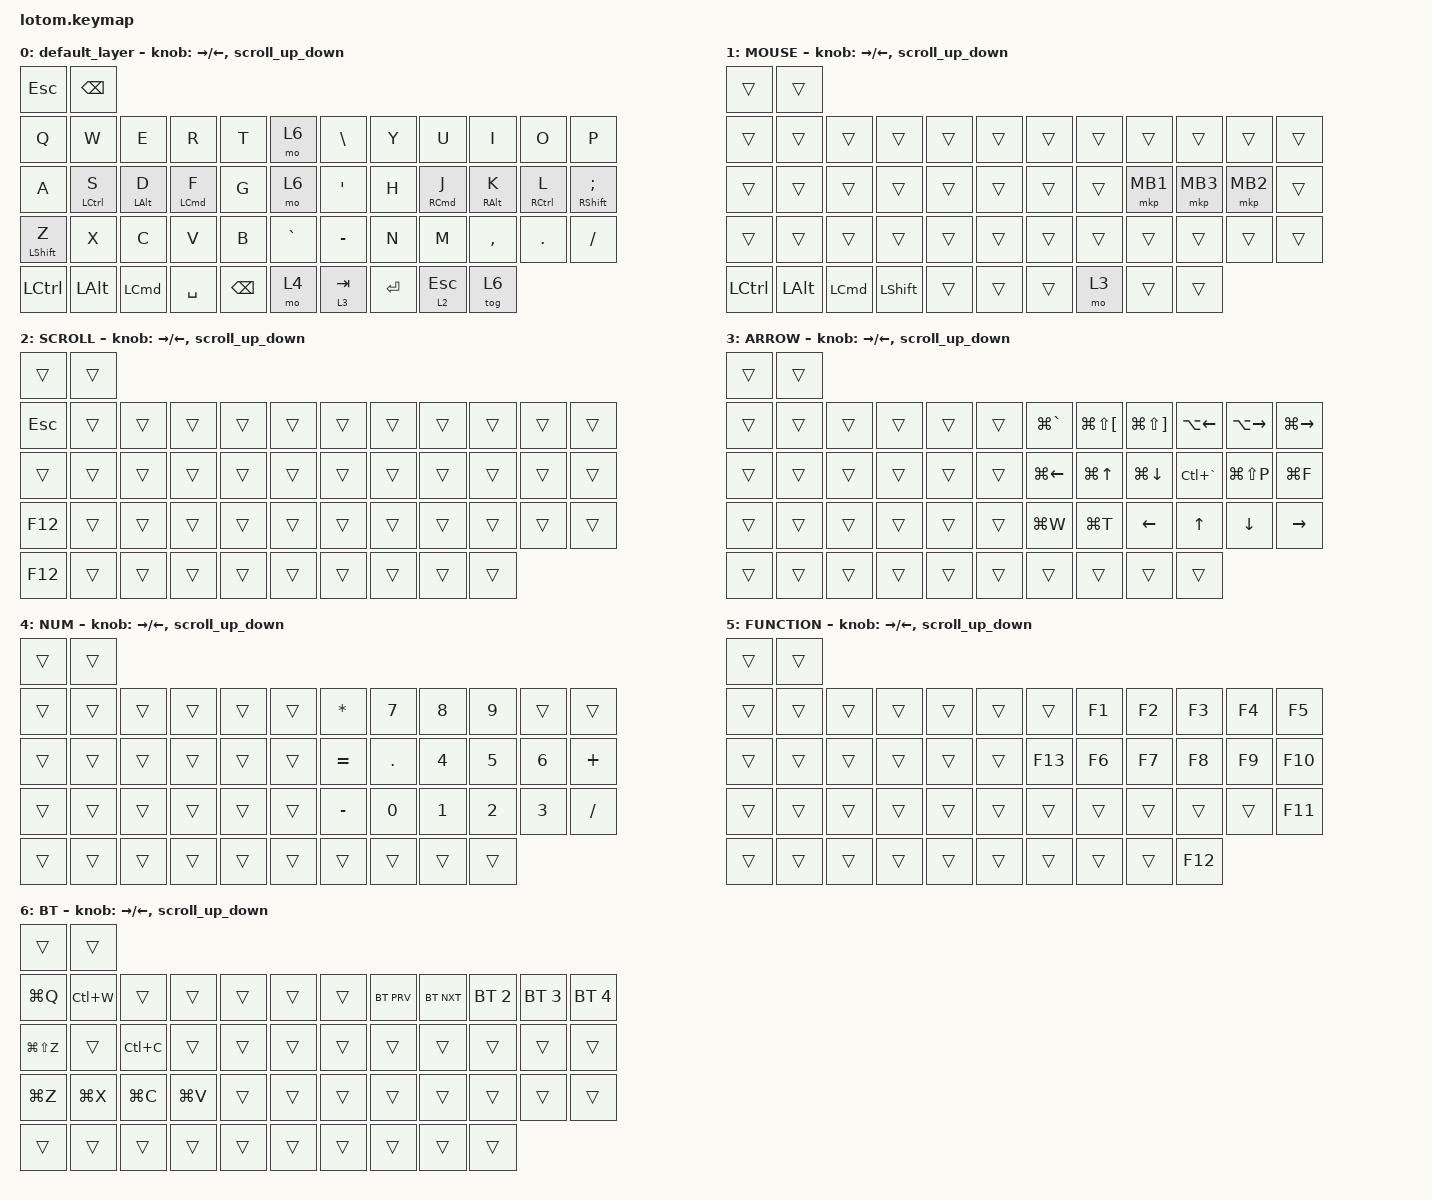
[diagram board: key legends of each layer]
#include <behaviors.dtsi>
#include <dt-bindings/zmk/bt.h>
#include <dt-bindings/zmk/keys.h>
#include <dt-bindings/zmk/pointing.h>

#define ZMK_POINTING_DEFAULT_SCRL_VAL 80

&mt {
    flavor = "balanced";
    tapping-term-ms = <300>;
    quick-tap-ms = <0>;
};

/ {
    behaviors {
        scroll_up_down: behavior_sensor_rotate_mouse_wheel_up_down {
            compatible = "zmk,behavior-sensor-rotate";
            label = "ENCODER_MSC_DOWN_UP";
            #sensor-binding-cells = <0>;
            bindings = <&msc SCRL_DOWN>, <&msc SCRL_UP>;

            tap-ms = <20>;
        };

        tab_slide: behavior_sensor_rotate_tab_slide {
            compatible = "zmk,behavior-sensor-rotate";
            label = "ENCODER_TAB_SLIDE";
            #sensor-binding-cells = <0>;
            bindings = <&kp LA(LG(RIGHT_ARROW))>, <&kp LA(LG(LEFT_ARROW))>;

            tap-ms = <20>;
        };
    };

    combos {
        compatible = "zmk,combos";

        mac_kana_combo {
            bindings = <&mac_kana>;
            key-positions = <17 22>; /* F + J */
            layers = <0>;
        };

        mac_eisu_combo {
            bindings = <&mac_eisu>;
            key-positions = <16 23>; /* D + K */
            layers = <0>;
        };

        bracket_combo {
            bindings = <&bracket>;
            key-positions = <22 25>; /* J + ; */
            layers = <0>;
        };

        equal {
            bindings = <&kp EQUAL>;
            key-positions = <32 33>;
        };
    };

    macros {
        bracket: bracket {
            compatible = "zmk,behavior-macro";
            #binding-cells = <0>;
            bindings = <&kp LEFT_BRACKET &kp RIGHT_BRACKET>;
            label = "BRACKET_PAIR";
        };

        mac_eisu: mac_eisu {
            compatible = "zmk,behavior-macro";
            #binding-cells = <0>;
            bindings = <&kp LANG2>;
            label = "MAC_EISU";
        };

        mac_kana: mac_kana {
            compatible = "zmk,behavior-macro";
            #binding-cells = <0>;
            bindings = <&kp LANG1>;
            label = "MAC_KANA";
        };
    };

    keymap {
        compatible = "zmk,keymap";

        default_layer {
            bindings = <
&kp ESCAPE        &kp BACKSPACE
&kp Q             &kp W               &kp E             &kp R               &kp T          &mo 6      &kp BACKSLASH     &kp Y       &kp U                &kp I            &kp O                &kp P
&kp A             &mt LEFT_CONTROL S  &mt LEFT_ALT D    &mt LEFT_COMMAND F  &kp G          &mo 6      &kp SINGLE_QUOTE  &kp H       &mt RIGHT_COMMAND J  &mt RIGHT_ALT K  &mt RIGHT_CONTROL L  &mt RIGHT_SHIFT SEMI
&mt LEFT_SHIFT Z  &kp X               &kp C             &kp V               &kp B          &kp GRAVE  &kp MINUS         &kp N       &kp M                &kp COMMA        &kp DOT              &kp SLASH
&kp LCTRL         &kp LEFT_ALT        &kp LEFT_COMMAND  &kp SPACE           &kp BACKSPACE  &mo 4      &lt 3 TAB         &kp RETURN  &lt 2 ESCAPE         &tog 6
            >;

            sensor-bindings = <
                &inc_dec_kp RIGHT_ARROW LEFT_ARROW
                &scroll_up_down
            >;
        };

        MOUSE {
            bindings = <
&trans     &trans
&trans     &trans        &trans            &trans          &trans  &trans  &trans  &trans  &trans    &trans    &trans    &trans
&trans     &trans        &trans            &trans          &trans  &trans  &trans  &trans  &mkp MB1  &mkp MB3  &mkp MB2  &trans
&trans     &trans        &trans            &trans          &trans  &trans  &trans  &trans  &trans    &trans    &trans    &trans
&kp LCTRL  &kp LEFT_ALT  &kp LEFT_COMMAND  &kp LEFT_SHIFT  &trans  &trans  &trans  &mo 3   &trans    &trans
            >;

            sensor-bindings = <
                &inc_dec_kp RIGHT_ARROW LEFT_ARROW
                &scroll_up_down
            >;
        };

        SCROLL {
            bindings = <
&trans      &trans
&kp ESCAPE  &trans  &trans  &trans  &trans  &trans  &trans  &trans  &trans  &trans  &trans  &trans
&trans      &trans  &trans  &trans  &trans  &trans  &trans  &trans  &trans  &trans  &trans  &trans
&kp F12     &trans  &trans  &trans  &trans  &trans  &trans  &trans  &trans  &trans  &trans  &trans
&kp F12     &trans  &trans  &trans  &trans  &trans  &trans  &trans  &trans  &trans
            >;

            sensor-bindings = <
                &inc_dec_kp RIGHT_ARROW LEFT_ARROW
                &scroll_up_down
            >;
        };

        ARROW {
            bindings = <
&trans     &trans
&trans  &trans  &trans  &trans  &trans  &trans  &kp LG(GRAVE)           &kp LG(LS(LEFT_BRACKET))   &kp LG(LS(RIGHT_BRACKET))  &kp LA(LEFT_ARROW)   &kp LA(RIGHT_ARROW)  &kp LG(RIGHT_ARROW)
&trans  &trans  &trans  &trans  &trans  &trans  &kp LG(LEFT_ARROW)      &kp LG(UP_ARROW)           &kp LG(DOWN_ARROW)         &kp LC(GRAVE)        &kp LG(LS(P))        &kp LG(F)
&trans  &trans  &trans  &trans  &trans  &trans  &kp LG(W)               &kp LG(T)                  &kp LEFT_ARROW             &kp UP_ARROW         &kp DOWN_ARROW       &kp RIGHT_ARROW
&trans  &trans  &trans  &trans  &trans  &trans  &trans                  &trans                     &trans                     &trans
            >;

            sensor-bindings = <
                &inc_dec_kp RIGHT_ARROW LEFT_ARROW
                &scroll_up_down
            >;
        };

        NUM {
            bindings = <
&trans                   &trans
&trans  &trans  &trans  &trans  &trans  &trans  &kp ASTERISK  &kp NUMBER_7  &kp NUMBER_8  &kp NUMBER_9  &trans        &trans
&trans  &trans  &trans  &trans  &trans  &trans  &kp EQUAL     &kp PERIOD    &kp NUMBER_4  &kp NUMBER_5  &kp NUMBER_6  &kp PLUS
&trans  &trans  &trans  &trans  &trans  &trans  &kp MINUS     &kp NUMBER_0  &kp NUMBER_1  &kp NUMBER_2  &kp NUMBER_3  &kp SLASH
&trans  &trans  &trans  &trans  &trans  &trans  &trans        &trans        &trans        &trans
            >;

            sensor-bindings = <
                &inc_dec_kp RIGHT_ARROW LEFT_ARROW
                &scroll_up_down
            >;
        };

        FUNCTION {
            bindings = <
&trans  &trans
&trans  &trans  &trans  &trans  &trans  &trans  &trans   &kp F1  &kp F2  &kp F3   &kp F4  &kp F5
&trans  &trans  &trans  &trans  &trans  &trans  &kp F13  &kp F6  &kp F7  &kp F8   &kp F9  &kp F10
&trans  &trans  &trans  &trans  &trans  &trans  &trans   &trans  &trans  &trans   &trans  &kp F11
&trans  &trans  &trans  &trans  &trans  &trans  &trans   &trans  &trans  &kp F12
            >;

            sensor-bindings = <
                &inc_dec_kp RIGHT_ARROW LEFT_ARROW
                &scroll_up_down
            >;
        };

        BT {
            bindings = <
&trans         &trans
&kp LG(Q)      &kp LC(W)  &trans     &trans     &trans  &trans  &trans  &bt BT_PRV  &bt BT_NXT  &bt BT_SEL 2  &bt BT_SEL 3  &bt BT_SEL 4
&kp LG(LS(Z))  &trans     &kp LC(C)  &trans     &trans  &trans  &trans  &trans      &trans      &trans        &trans        &trans
&kp LG(Z)      &kp LG(X)  &kp LG(C)  &kp LG(V)  &trans  &trans  &trans  &trans      &trans      &trans        &trans        &trans
&trans         &trans     &trans     &trans     &trans  &trans  &trans  &trans      &trans      &trans
            >;

            sensor-bindings = <
                &inc_dec_kp RIGHT_ARROW LEFT_ARROW
                &scroll_up_down
            >;
        };
    };
};
